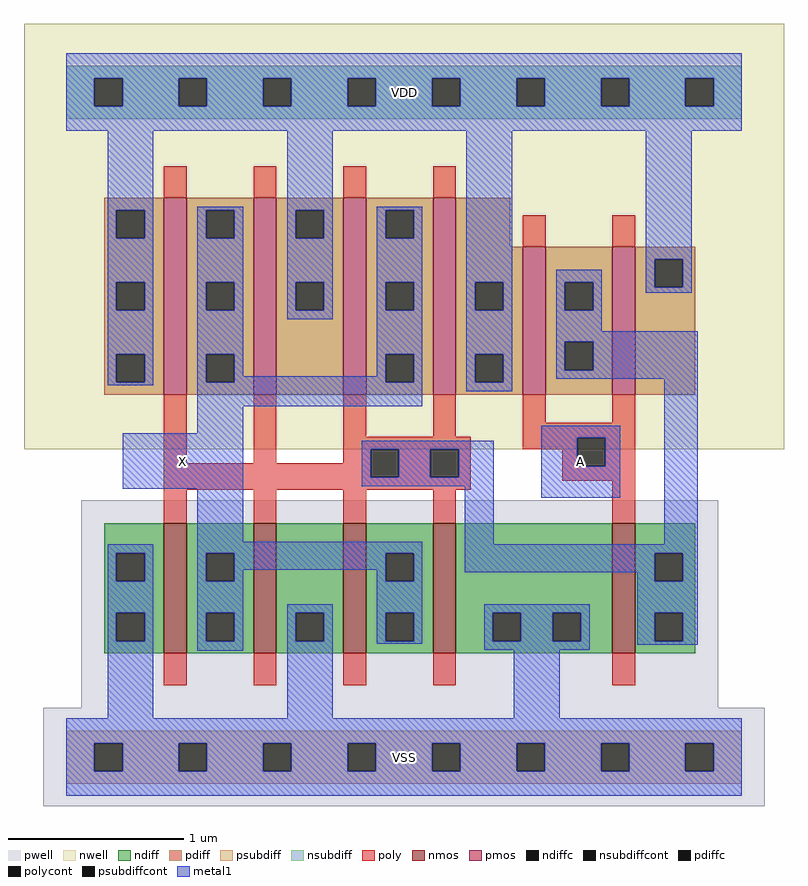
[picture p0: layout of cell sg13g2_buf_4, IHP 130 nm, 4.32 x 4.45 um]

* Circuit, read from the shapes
.subckt sg13g2_buf_4 X VSS A VDD
XM1 X n1 VSS VSS sg13_lv_nmos w=0.74u l=0.13u m=4
XM2 n1 A VSS VSS sg13_lv_nmos w=0.74u l=0.13u
XM3 X n1 VDD VDD sg13_lv_pmos w=1.12u l=0.13u m=4
XM4 n1 A VDD VDD sg13_lv_pmos w=0.84u l=0.13u m=2
.ends

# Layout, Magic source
magic
tech ihp-sg13g2
magscale 1 2
<< nwell >>
rect -48 350 816 834
<< pwell >>
rect 17 56 741 292
rect -26 -56 794 56
<< nmos >>
rect 111 118 137 266
rect 213 118 239 266
rect 315 118 341 266
rect 417 118 443 266
rect 621 118 647 266
<< pmos >>
rect 111 412 137 636
rect 213 412 239 636
rect 315 412 341 636
rect 417 412 443 636
rect 519 412 545 580
rect 621 412 647 580
<< ndiff >>
rect 43 232 111 266
rect 43 200 57 232
rect 89 200 111 232
rect 43 164 111 200
rect 43 132 57 164
rect 89 132 111 164
rect 43 118 111 132
rect 137 232 213 266
rect 137 200 159 232
rect 191 200 213 232
rect 137 164 213 200
rect 137 132 159 164
rect 191 132 213 164
rect 137 118 213 132
rect 239 164 315 266
rect 239 132 261 164
rect 293 132 315 164
rect 239 118 315 132
rect 341 232 417 266
rect 341 200 363 232
rect 395 200 417 232
rect 341 164 417 200
rect 341 132 363 164
rect 395 132 417 164
rect 341 118 417 132
rect 443 164 621 266
rect 443 132 485 164
rect 517 132 553 164
rect 585 132 621 164
rect 443 118 621 132
rect 647 232 715 266
rect 647 200 669 232
rect 701 200 715 232
rect 647 164 715 200
rect 647 132 669 164
rect 701 132 715 164
rect 647 118 715 132
<< pdiff >>
rect 43 622 111 636
rect 43 590 57 622
rect 89 590 111 622
rect 43 540 111 590
rect 43 508 57 540
rect 89 508 111 540
rect 43 458 111 508
rect 43 426 57 458
rect 89 426 111 458
rect 43 412 111 426
rect 137 622 213 636
rect 137 590 159 622
rect 191 590 213 622
rect 137 540 213 590
rect 137 508 159 540
rect 191 508 213 540
rect 137 458 213 508
rect 137 426 159 458
rect 191 426 213 458
rect 137 412 213 426
rect 239 622 315 636
rect 239 590 261 622
rect 293 590 315 622
rect 239 540 315 590
rect 239 508 261 540
rect 293 508 315 540
rect 239 412 315 508
rect 341 622 417 636
rect 341 590 363 622
rect 395 590 417 622
rect 341 540 417 590
rect 341 508 363 540
rect 395 508 417 540
rect 341 458 417 508
rect 341 426 363 458
rect 395 426 417 458
rect 341 412 417 426
rect 443 580 505 636
rect 443 540 519 580
rect 443 508 465 540
rect 497 508 519 540
rect 443 458 519 508
rect 443 426 465 458
rect 497 426 519 458
rect 443 412 519 426
rect 545 540 621 580
rect 545 508 567 540
rect 599 508 621 540
rect 545 472 621 508
rect 545 440 567 472
rect 599 440 621 472
rect 545 412 621 440
rect 647 566 715 580
rect 647 534 669 566
rect 701 534 715 566
rect 647 412 715 534
<< ndiffc >>
rect 57 200 89 232
rect 57 132 89 164
rect 159 200 191 232
rect 159 132 191 164
rect 261 132 293 164
rect 363 200 395 232
rect 363 132 395 164
rect 485 132 517 164
rect 553 132 585 164
rect 669 200 701 232
rect 669 132 701 164
<< pdiffc >>
rect 57 590 89 622
rect 57 508 89 540
rect 57 426 89 458
rect 159 590 191 622
rect 159 508 191 540
rect 159 426 191 458
rect 261 590 293 622
rect 261 508 293 540
rect 363 590 395 622
rect 363 508 395 540
rect 363 426 395 458
rect 465 508 497 540
rect 465 426 497 458
rect 567 508 599 540
rect 567 440 599 472
rect 669 534 701 566
<< psubdiff >>
rect 0 16 768 30
rect 0 -16 32 16
rect 64 -16 128 16
rect 160 -16 224 16
rect 256 -16 320 16
rect 352 -16 416 16
rect 448 -16 512 16
rect 544 -16 608 16
rect 640 -16 704 16
rect 736 -16 768 16
rect 0 -30 768 -16
<< nsubdiff >>
rect 0 772 768 786
rect 0 740 32 772
rect 64 740 128 772
rect 160 740 224 772
rect 256 740 320 772
rect 352 740 416 772
rect 448 740 512 772
rect 544 740 608 772
rect 640 740 704 772
rect 736 740 768 772
rect 0 726 768 740
<< psubdiffcont >>
rect 32 -16 64 16
rect 128 -16 160 16
rect 224 -16 256 16
rect 320 -16 352 16
rect 416 -16 448 16
rect 512 -16 544 16
rect 608 -16 640 16
rect 704 -16 736 16
<< nsubdiffcont >>
rect 32 740 64 772
rect 128 740 160 772
rect 224 740 256 772
rect 320 740 352 772
rect 416 740 448 772
rect 512 740 544 772
rect 608 740 640 772
rect 704 740 736 772
<< poly >>
rect 111 636 137 672
rect 213 636 239 672
rect 315 636 341 672
rect 417 636 443 672
rect 519 580 545 616
rect 621 580 647 616
rect 111 334 137 412
rect 213 334 239 412
rect 315 364 341 412
rect 417 364 443 412
rect 519 380 545 412
rect 621 380 647 412
rect 315 350 460 364
rect 519 363 647 380
rect 519 350 581 363
rect 315 334 346 350
rect 111 318 346 334
rect 378 318 414 350
rect 446 318 460 350
rect 111 304 460 318
rect 564 331 581 350
rect 613 331 647 363
rect 564 314 647 331
rect 111 266 137 304
rect 213 266 239 304
rect 315 266 341 304
rect 417 266 443 304
rect 621 266 647 314
rect 111 82 137 118
rect 213 82 239 118
rect 315 82 341 118
rect 417 82 443 118
rect 621 82 647 118
<< polycont >>
rect 346 318 378 350
rect 414 318 446 350
rect 581 331 613 363
<< metal1 >>
rect 0 772 768 800
rect 0 740 32 772
rect 64 740 128 772
rect 160 740 224 772
rect 256 740 320 772
rect 352 740 416 772
rect 448 740 512 772
rect 544 740 608 772
rect 640 740 704 772
rect 736 740 768 772
rect 0 712 768 740
rect 47 622 99 712
rect 47 590 57 622
rect 89 590 99 622
rect 47 540 99 590
rect 47 508 57 540
rect 89 508 99 540
rect 47 458 99 508
rect 47 426 57 458
rect 89 426 99 458
rect 47 423 99 426
rect 149 622 201 626
rect 149 590 159 622
rect 191 590 201 622
rect 149 540 201 590
rect 149 508 159 540
rect 191 508 201 540
rect 149 458 201 508
rect 251 622 303 712
rect 251 590 261 622
rect 293 590 303 622
rect 251 540 303 590
rect 251 508 261 540
rect 293 508 303 540
rect 251 498 303 508
rect 353 622 405 626
rect 353 590 363 622
rect 395 590 405 622
rect 353 540 405 590
rect 353 508 363 540
rect 395 508 405 540
rect 149 426 159 458
rect 191 433 201 458
rect 353 458 405 508
rect 353 433 363 458
rect 191 426 363 433
rect 395 426 405 458
rect 149 399 405 426
rect 455 540 507 712
rect 659 566 711 712
rect 455 508 465 540
rect 497 508 507 540
rect 455 458 507 508
rect 455 426 465 458
rect 497 426 507 458
rect 557 540 609 554
rect 557 508 567 540
rect 599 508 609 540
rect 659 534 669 566
rect 701 534 711 566
rect 659 528 711 534
rect 557 484 609 508
rect 557 472 718 484
rect 557 440 567 472
rect 599 440 718 472
rect 557 430 718 440
rect 455 416 507 426
rect 149 368 201 399
rect 64 305 201 368
rect 540 363 630 377
rect 336 350 486 360
rect 336 318 346 350
rect 378 318 414 350
rect 446 318 486 350
rect 336 308 486 318
rect 149 245 201 305
rect 47 232 99 242
rect 47 200 57 232
rect 89 200 99 232
rect 47 164 99 200
rect 47 132 57 164
rect 89 132 99 164
rect 47 44 99 132
rect 149 232 405 245
rect 149 200 159 232
rect 191 213 363 232
rect 191 200 201 213
rect 149 164 201 200
rect 353 200 363 213
rect 395 200 405 232
rect 453 242 486 308
rect 540 331 581 363
rect 613 331 630 363
rect 540 295 630 331
rect 680 242 718 430
rect 453 232 718 242
rect 453 210 669 232
rect 149 132 159 164
rect 191 132 201 164
rect 149 121 201 132
rect 251 164 303 174
rect 251 132 261 164
rect 293 132 303 164
rect 251 44 303 132
rect 353 164 405 200
rect 649 200 669 210
rect 701 200 718 232
rect 353 132 363 164
rect 395 132 405 164
rect 353 129 405 132
rect 475 164 595 174
rect 475 132 485 164
rect 517 132 553 164
rect 585 132 595 164
rect 475 122 595 132
rect 649 164 718 200
rect 649 132 669 164
rect 701 132 718 164
rect 649 128 718 132
rect 509 44 561 122
rect 0 16 768 44
rect 0 -16 32 16
rect 64 -16 128 16
rect 160 -16 224 16
rect 256 -16 320 16
rect 352 -16 416 16
rect 448 -16 512 16
rect 544 -16 608 16
rect 640 -16 704 16
rect 736 -16 768 16
rect 0 -44 768 -16
<< labels >>
flabel metal1 s 64 305 201 368 0 FreeSans 400 0 0 0 X
port 2 nsew
flabel metal1 s 0 -44 768 44 0 FreeSans 400 0 0 0 VSS
port 3 nsew
flabel metal1 s 540 295 630 377 0 FreeSans 400 0 0 0 A
port 4 nsew
flabel metal1 s 0 712 768 800 0 FreeSans 400 0 0 0 VDD
port 5 nsew
<< properties >>
string FIXED_BBOX 0 0 768 756
string GDS_END 128046
string GDS_FILE 6_final.gds
string GDS_START 121798
<< end >>
